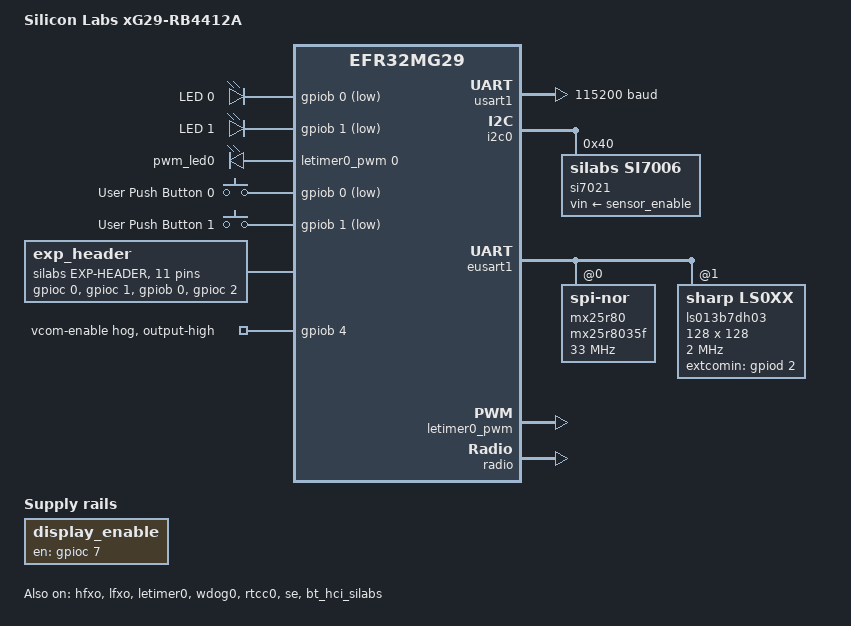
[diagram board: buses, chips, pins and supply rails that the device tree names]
/*
 * Copyright (c) 2025 Silicon Laboratories Inc.
 *
 * SPDX-License-Identifier: Apache-2.0
 */

/dts-v1/;
#include <silabs/xg29/efr32mg29b140f1024im40.dtsi>
#include <zephyr/dt-bindings/input/input-event-codes.h>
#include <zephyr/dt-bindings/pwm/pwm.h>
#include <zephyr/dt-bindings/regulator/silabs_dcdc.h>
#include "xg29_rb4412a-pinctrl.dtsi"

/ {
	model = "Silicon Labs xG29-RB4412A";
	compatible = "silabs,xg29_rb4412a", "silabs,efr32mg29";

	chosen {
		zephyr,bt-hci = &bt_hci_silabs;
		zephyr,code-partition = &slot0_partition;
		zephyr,console = &usart1;
		zephyr,display = &ls013b7dh03;
		zephyr,flash = &flash0;
		zephyr,shell-uart = &usart1;
		zephyr,sram = &sram0;
		zephyr,uart-pipe = &usart1;
	};

	aliases {
		led0 = &led0;
		led1 = &led1;
		pwm-led0 = &pwm_led0;
		spi-flash0 = &mx25r80;
		sw0 = &button0;
		sw1 = &button1;
		watchdog0 = &wdog0;
		dht0 = &si7021;
	};

	leds {
		compatible = "gpio-leds";

		led0: led_0 {
			gpios = <&gpiob 0 GPIO_ACTIVE_LOW>;
			label = "LED 0";
		};

		led1: led_1 {
			gpios = <&gpiob 1 GPIO_ACTIVE_LOW>;
			label = "LED 1";
		};
	};

	pwmleds {
		compatible = "pwm-leds";

		pwm_led0: pwm_led_0 {
			pwms = <&letimer0_pwm 0 PWM_MSEC(20) PWM_POLARITY_INVERTED>;
		};
	};

	buttons {
		compatible = "gpio-keys";

		button0: button_0 {
			gpios = <&gpiob 0 GPIO_ACTIVE_LOW>;
			label = "User Push Button 0";
			zephyr,code = <INPUT_KEY_0>;
		};

		button1: button_1 {
			gpios = <&gpiob 1 GPIO_ACTIVE_LOW>;
			label = "User Push Button 1";
			zephyr,code = <INPUT_KEY_1>;
		};
	};

	display_enable: sensor_enable: gpio_switch_0 {
		compatible = "regulator-fixed";
		enable-gpios = <&gpioc 7 GPIO_ACTIVE_HIGH>;
		regulator-name = "sensor_enable";
	};

	exp_header: exp-header {
		compatible = "silabs,exp-header";
		#gpio-cells = <2>;
		gpio-map = <4 0 &gpioc 0 0>,
			   <6 0 &gpioc 1 0>,
			   <7 0 &gpiob 0 0>,
			   <8 0 &gpioc 2 0>,
			   <9 0 &gpiob 1 0>,
			   <10 0 &gpioc 3 0>,
			   <12 0 &gpioa 5 0>,
			   <13 0 &gpioa 8 0>,
			   <14 0 &gpioa 6 0>,
			   <15 0 &gpiob 2 0>,
			   <16 0 &gpiob 3 0>;
		gpio-map-mask = <0xffffffff 0x0>;
		gpio-map-pass-thru = <0x0 GPIO_DT_FLAGS_MASK>;
	};
};

&cpu0 {
	clock-frequency = <76800000>;
};

&itm {
	pinctrl-0 = <&itm_default>;
	pinctrl-names = "default";
	swo-ref-frequency = <DT_FREQ_K(76800)>;
};

&hfxo {
	ctune = <140>;
	precision = <50>;
	status = "okay";
};

&lfxo {
	ctune = <63>;
	precision = <50>;
	status = "okay";
};

&hfrcodpll {
	clock-frequency = <DT_FREQ_K(76800)>;
	clocks = <&hfxo>;
	dpll-autorecover;
	dpll-edge = "fall";
	dpll-lock = "phase";
	dpll-m = <1919>;
	dpll-n = <3839>;
};

&em23grpaclk {
	clocks = <&lfxo>;
};

&em4grpaclk {
	clocks = <&lfxo>;
};

&rtccclk {
	clocks = <&lfxo>;
};

&wdog0clk {
	clocks = <&lfxo>;
};

&usart1 {
	current-speed = <115200>;
	pinctrl-0 = <&usart1_default>;
	pinctrl-names = "default";
	status = "okay";
};

&i2c0 {
	pinctrl-0 = <&i2c0_default>;
	pinctrl-names = "default";
	status = "okay";

	si7021: si7021@40 {
		compatible = "silabs,si7006";
		reg = <0x40>;
		vin-supply = <&sensor_enable>;
	};
};

&eusart1 {
	#address-cells = <1>;
	#size-cells = <0>;
	clock-frequency = <DT_FREQ_M(8)>;
	pinctrl-0 = <&eusart1_default>;
	pinctrl-names = "default";
	status = "okay";

	cs-gpios = <&gpioa 4 GPIO_ACTIVE_LOW>, <&gpioc 6 GPIO_ACTIVE_HIGH>;

	mx25r80: mx25r8035f@0 {
		compatible = "jedec,spi-nor";
		reg = <0>;
		dpd-wakeup-sequence = <30000 20 35000>;
		has-dpd;
		jedec-id = [c2 28 14];
		mxicy,mx25r-power-mode = "low-power";
		size = <0x800000>;
		spi-max-frequency = <DT_FREQ_M(33)>;
		t-enter-dpd = <0>;
	};

	ls013b7dh03: ls0xx@1 {
		compatible = "sharp,ls0xx";
		reg = <1>;
		height = <128>;
		spi-max-frequency = <DT_FREQ_M(2)>;
		width = <128>;
		extcomin-gpios = <&gpiod 2 GPIO_ACTIVE_HIGH>;
		extcomin-frequency = <60>;
	};
};

&letimer0 {
	status = "okay";

	letimer0_pwm: pwm {
		pinctrl-0 = <&letimer0_default>;
		pinctrl-names = "default";
		status = "okay";
	};
};

&gpio {
	status = "okay";
};

&gpioa {
	status = "okay";
};

&gpiob {
	status = "okay";

	vcom-enable {
		gpio-hog;
		gpios = <4 GPIO_ACTIVE_HIGH>;
		output-high;
	};
};

&gpioc {
	status = "okay";
};

&gpiod {
	status = "okay";
};

&wdog0 {
	status = "okay";
};

&rtcc0 {
	status = "okay";
};

&se {
	status = "okay";
};

&dcdc {
	status = "okay";
	regulator-boot-on;
	regulator-initial-mode = <SILABS_DCDC_MODE_BUCK>;
};

&radio {
	pa-voltage-mv = <1800>;
};

&bt_hci_silabs {
	status = "okay";
};

&flash0 {
	partitions {
		compatible = "fixed-partitions";
		#address-cells = <1>;
		#size-cells = <1>;

		boot_partition: partition@0 {
			reg = <0x00000000 DT_SIZE_K(48)>;
			label = "mcuboot";
		};

		slot0_partition: partition@c000 {
			reg = <0x0000C000 DT_SIZE_K(472)>;
			label = "image-0";
		};

		slot1_partition: partition@82000 {
			reg = <0x00082000 DT_SIZE_K(472)>;
			label = "image-1";
		};

		storage_partition: partition@F8000 {
			reg = <0x000F8000 DT_SIZE_K(32)>;
			label = "storage";
		};
	};
};
